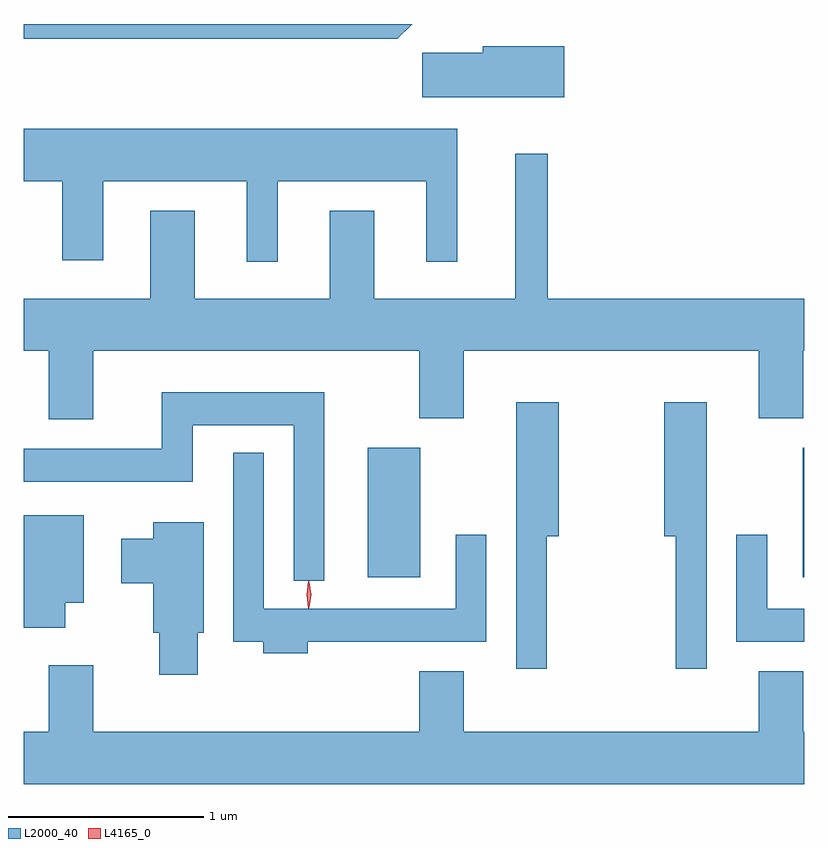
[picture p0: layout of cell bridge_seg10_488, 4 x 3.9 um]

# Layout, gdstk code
import gdstk
lib = gdstk.Library(unit=1e-6, precision=1e-09)
def R(c, l, rs):  # rectangles x0, y0, x1, y1
    for r in rs: c.add(gdstk.rectangle(r[:2], r[2:], *l))
def P(c, l, *ps):  # polygons
    for p in ps: c.add(gdstk.Polygon(p, *l))
L2000_40 = (2000, 40)
L4165_0 = (4165, 0)

bridge_seg10_488 = lib.new_cell('bridge_seg10_488')
R(bridge_seg10_488, L2000_40, [(907.526,2152.716,907.794,2153.379), (909.756,2152.716,909.763,2153.379)])
P(bridge_seg10_488, L2000_40, [(907.753,2155.552),(905.763,2155.552),(905.763,2155.476),(907.677,2155.476)],
  [(908.534,2155.439),(908.116,2155.439),(908.116,2155.404),(907.806,2155.404),(907.806,2155.176),(908.534,2155.176)],
  [(907.064,2154.746),(907.826,2154.746),(907.826,2154.333),(907.984,2154.333),(907.984,2155.014),(905.763,2155.014),(905.763,2154.746),(905.961,2154.746),(905.961,2154.341),(906.169,2154.341),(906.169,2154.746),(906.906,2154.746),(906.906,2154.333),(907.064,2154.333)],
  [(909.531,2153.531),(909.759,2153.531),(909.759,2153.876),(909.763,2153.876),(909.763,2154.144),(908.449,2154.144),(908.449,2154.888),(908.281,2154.888),(908.281,2154.144),(907.559,2154.144),(907.559,2154.594),(907.331,2154.594),(907.331,2154.144),(906.639,2154.144),(906.639,2154.594),(906.411,2154.594),(906.411,2154.144),(905.763,2154.144),(905.763,2153.876),(905.891,2153.876),(905.891,2153.526),(906.119,2153.526),(906.119,2153.876),(907.791,2153.876),(907.791,2153.531),(908.019,2153.531),(908.019,2153.876),(909.531,2153.876)],
  [(907.304,2153.664),(906.471,2153.664),(906.471,2153.374),(905.763,2153.374),(905.763,2153.206),(906.629,2153.206),(906.629,2153.496),(907.146,2153.496),(907.146,2152.698),(907.304,2152.698)],
  [(908.444,2152.926),(908.504,2152.926),(908.504,2153.614),(908.286,2153.614),(908.286,2152.248),(908.444,2152.248)],
  [(909.264,2153.614),(909.046,2153.614),(909.046,2152.926),(909.106,2152.926),(909.106,2152.248),(909.264,2152.248)],
  [(907.219,2152.386),(908.134,2152.386),(908.134,2152.933),(907.976,2152.933),(907.976,2152.554),(906.994,2152.554),(906.994,2153.353),(906.836,2153.353),(906.836,2152.386),(906.991,2152.386),(906.991,2152.326),(907.219,2152.326)],
  [(905.974,2152.586),(906.069,2152.586),(906.069,2153.034),(905.763,2153.034),(905.763,2152.456),(905.974,2152.456)],
  [(906.654,2152.431),(906.684,2152.431),(906.684,2152.999),(906.426,2152.999),(906.426,2152.914),(906.261,2152.914),(906.261,2152.686),(906.426,2152.686),(906.426,2152.431),(906.456,2152.431),(906.456,2152.216),(906.654,2152.216)],
  [(909.763,2152.554),(909.574,2152.554),(909.574,2152.933),(909.416,2152.933),(909.416,2152.386),(909.763,2152.386)],
  [(909.763,2151.924),(909.759,2151.924),(909.759,2152.234),(909.531,2152.234),(909.531,2151.924),(908.019,2151.924),(908.019,2152.234),(907.791,2152.234),(907.791,2151.924),(906.119,2151.924),(906.119,2152.264),(905.891,2152.264),(905.891,2151.924),(905.763,2151.924),(905.763,2151.656),(909.763,2151.656)])
P(bridge_seg10_488, L4165_0, [(907.222,2152.557),(907.213,2152.627),(907.222,2152.696),(907.223,2152.696),(907.224,2152.696),(907.233,2152.627),(907.224,2152.557),(907.223,2152.557)],
  [(907.225,2152.559),(907.225,2152.56),(907.215,2152.626),(907.225,2152.692),(907.225,2152.693),(907.226,2152.692),(907.235,2152.626),(907.226,2152.56)])

lib.write_gds('bridge_seg10_488.gds')
